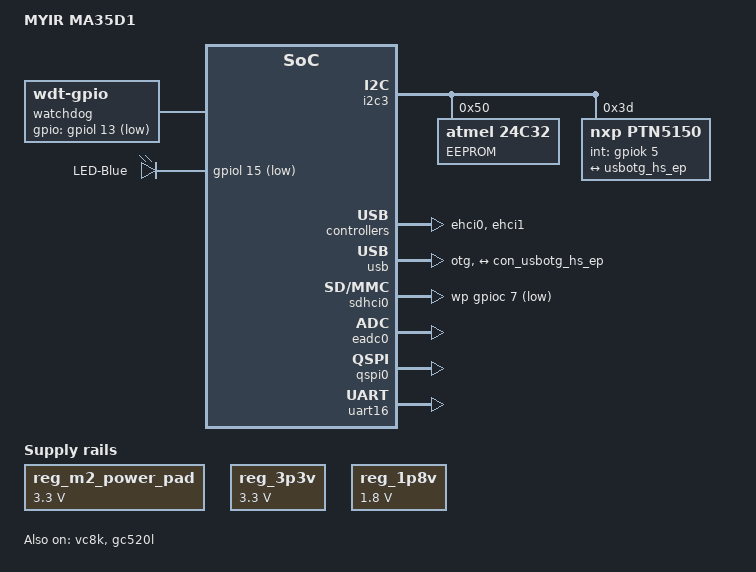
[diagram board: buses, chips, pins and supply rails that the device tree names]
/*
 * Device Tree Source for MA35D1 
 * Copyright (C) 2024 MYIR
 *
 */

/dts-v1/;

#include "myt-lma35dx-base.dts"

/ {
	model = "MYIR MA35D1";

	chosen {
		bootargs = "root=/dev/mmcblk0p1 rootfstype=ext4 rw rootwait console=ttyS0,115200n8 rdinit=/sbin/init mem=256M";
	};

	reserved-memory {
		vc8k_buf: vc8k_buf@0 {
			reg = <0x0 0x8A800000 0x0 0x2000000>; /* 32MiB */
			no-map;
		};
		gc520l_buf: gc520l_buf@0 {
			reg = <0x0 0x8A000000 0x0 0x800000>; /* 8MiB */
			no-map;
		};
		rproc_buf: rproc_buf@0 {
			reg = <0x0 0x80020000 0x0 0x60000>; /* 384KB */
			no-map;
		};
	};

	regulators {
			compatible = "simple-bus";
			#address-cells = <1>;
			#size-cells = <0>;

		reg_m2_power_pad: regulator1 {
			compatible = "regulator-fixed";
			regulator-name = "fixed-3.3V";
			regulator-min-microvolt = <3300000>;
			regulator-max-microvolt = <3300000>;
			regulator-boot-on;
			regulator-always-on;
			enable-active-high;
			// gpios = <&gpiob 8 GPIO_ACTIVE_HIGH>;
		};

	};

	reg_3p3v: regulator1 {
		compatible = "regulator-fixed";
		regulator-name = "fixed-3.3V";
		regulator-min-microvolt = <3300000>;
		regulator-max-microvolt = <3300000>;
		regulator-boot-on;
		regulator-always-on;
	};

	reg_1p8v: regulator0 {
		compatible = "regulator-fixed";
		regulator-name = "fixed-1.8V";
		regulator-min-microvolt = <1800000>;
		regulator-max-microvolt = <1800000>;
		regulator-boot-on;
		regulator-always-on;
	};

	watchdog: watchdog {
		// SGM823
		compatible = "linux,wdt-gpio";
		gpios = <&gpiol 13 GPIO_ACTIVE_LOW>;
		hw_algo = "toggle";
		// always-running;
		hw_margin_ms = <1600>;
	};

	gpio_leds_test {
		compatible = "gpio-leds";
		status = "okay";
		led0 {
			label = "LED-Blue";
			gpios = <&gpiol 15 GPIO_ACTIVE_LOW>;
			default-state = "on";
			linux,default-trigger = "heartbeat";
		};
	};

	volt0_sdhci1: regulator-volt0_sdhci1 {
		compatible = "nuvoton,ma35d1-volt";
		regulator-min-microvolt = <1800000>;
		regulator-max-microvolt = <3300000>;
		regulator-name = "volt0_sdhci1";
		regulator-always-on;
    };
};

&mem {
	device_type = "memory";
	reg = <0x00000000 0x80000000 0 0x10000000>; /* DRAM space - 1, size : 256MB DRAM */
};

&i2c3 {
	status = "okay";
	pinctrl-names = "default";
	pinctrl-0 = <&pinctrl_i2c3>;

	EEPROM:24C32F@50 {
		status = "okay";
		compatible = "atmel,24c32";
		reg = <0x50>;
		pagesize = <64>;
	};

	ptn5150: ptn5150@3d {
		status = "okay";
		compatible = "nxp,ptn5150";
		reg = <0x3d>;
		pinctrl-names = "default";
		int-gpios = <&gpiok 5 GPIO_ACTIVE_HIGH>;

		connector {
			compatible = "usb-c-connector";
			label = "USB-C";
			port {
				con_usbotg_hs_ep: endpoint {
					remote-endpoint = <&usbotg_hs_ep>;
				};
			};
		};
	};
};

&ehci0 {
	// pinctrl-names = "default";
	// pinctrl-0 = <&pinctrl_hsusbh>;
	oc-active-level = <1>;
	status = "okay";
};

&ehci1 {
   status = "okay";
   oc-active-level = <1>;
};

&usb {
	pinctrl-names = "default";
	pinctrl-0 = <&pinctrl_usb>;
	dr_mode = "otg";
	port {
		usbotg_hs_ep: endpoint {
			remote-endpoint = <&con_usbotg_hs_ep>;
		};
	};
};

/* SD */
&sdhci0 {
	status = "okay";
	pinctrl-names = "default";
	pinctrl-0 = <&pinctrl_sdhci0>;
	wp-gpios = <&gpioc 7 GPIO_ACTIVE_LOW>;
};

/*eMMC*/
&sdhci1 {
	status = "disabled";
};

&eadc0 {
	status = "okay";
};

&qspi0 {
	status = "okay";
	pinctrl-names = "default";
	pinctrl-0 = <&pinctrl_qspi0>;
};

&vc8k {
	memory-region = <&vc8k_buf>;
	status = "okay";
};

&gc520l {
	memory-region = <&gc520l_buf>;
	status = "okay";
};

&uart16 {
	status = "okay";
	pinctrl-names = "default";
	pinctrl-0 = <&pinctrl_uart16>;
};

&pinctrl {

	i2c3 {
		pinctrl_i2c3: i2c3grp{
			nuvoton,pins =
				<SYS_GPB_MFPH_PB12MFP_I2C3_SDA	&pcfg_default>,
				<SYS_GPB_MFPH_PB13MFP_I2C3_SCL	&pcfg_default>;
		};
	};

	qspi0 {
		pinctrl_qspi0: qspi0grp{
			nuvoton,pins =
				<SYS_GPD_MFPL_PD0MFP_QSPI0_SS0		&pcfg_default>,
				<SYS_GPD_MFPL_PD1MFP_QSPI0_CLK		&pcfg_default>,
				<SYS_GPD_MFPL_PD2MFP_QSPI0_MOSI0	&pcfg_default>,
				<SYS_GPD_MFPL_PD3MFP_QSPI0_MISO0	&pcfg_default>,
				<SYS_GPD_MFPL_PD4MFP_QSPI0_MOSI1	&pcfg_default>,
				<SYS_GPD_MFPL_PD5MFP_QSPI0_MISO1	&pcfg_default>;
		};
	};

	usb {
		pinctrl_usb: usbgrp{
			nuvoton,pins =
				<SYS_GPF_MFPH_PF15MFP_HSUSB0_VBUSVLD	&pcfg_default>;
		};
	};

	sdhci0 {
		pinctrl_sdhci0: sdhci0grp{
			nuvoton,pins =
				<SYS_GPC_MFPL_PC0MFP_eMMC0_CMD	&pcfg_sdhci_drive2_3_3V>,
				<SYS_GPC_MFPL_PC1MFP_eMMC0_CLK	&pcfg_sdhci_drive2_3_3V>,
				<SYS_GPC_MFPL_PC2MFP_eMMC0_DAT0	&pcfg_sdhci_drive2_3_3V>,
				<SYS_GPC_MFPL_PC3MFP_eMMC0_DAT1	&pcfg_sdhci_drive2_3_3V>,
				<SYS_GPC_MFPL_PC4MFP_eMMC0_DAT2	&pcfg_sdhci_drive2_3_3V>,
				<SYS_GPC_MFPL_PC5MFP_eMMC0_DAT3	&pcfg_sdhci_drive2_3_3V>,
				<SYS_GPC_MFPL_PC6MFP_SD0_nCD	&pcfg_default>,
				<SYS_GPC_MFPL_PC7MFP_SD0_WP	&pcfg_default>;
		};
	};

	uart16 {
		pinctrl_uart16: uart16grp{
			nuvoton,pins =
				<SYS_GPD_MFPH_PD10MFP_UART16_RXD		&pcfg_default>,
				<SYS_GPD_MFPH_PD11MFP_UART16_TXD		&pcfg_default>;
		};
	};
};
